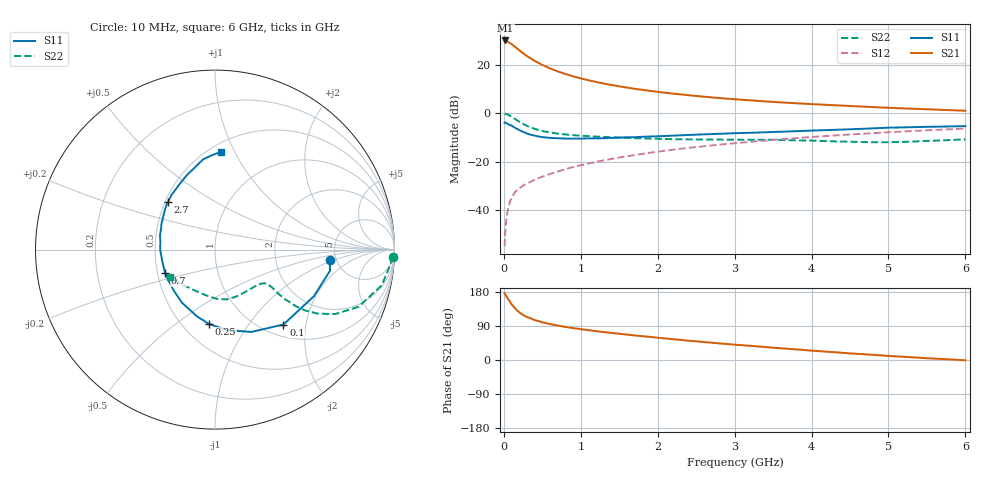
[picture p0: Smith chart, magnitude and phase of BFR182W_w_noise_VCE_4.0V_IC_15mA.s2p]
! (c) 2017  Infineon Technologies AG, Munich
! Infineon Technologies  Discrete & RF Semiconductors
! BFR182W
! VCE =  4.0 V,  IC =  15 mA
! Common Emitter S-Parameters:  Jan 2017
# GHz  S  MA  R  50
!  f  S11  S21  S12  S22
! GHz  MAG  ANG  MAG  ANG  MAG  ANG  MAG  ANG
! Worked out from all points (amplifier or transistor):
!   77 points, 10 MHz to 6 GHz, reference 50 ohm
!   highest |S21| = 30.2 dB at 20 MHz (marker M1)
!   |S21| within 3 dB of that: start of sweep to 160.1 MHz
!   unconditionally stable (mu >= 1): 925 MHz to 2.468 GHz
!   at 130 MHz: K = 0.36, MSG = 30.6 dB, |S12| = -33.4 dB
!   at 2.2 GHz: K = 1.02, MAG = 10.8 dB, |S12| = -15.0 dB
!   at 6 GHz: K = 0.87, MSG = 3.7 dB, |S12| = -6.3 dB
!   lowest NFmin = 1.25 dB at 450 MHz
!   S11 on the Smith chart (normalised r, x): 10 MHz: 4.40, -0.87; 100 MHz: 1.22, -1.50; 250 MHz: 0.67, -0.67; 700 MHz: 0.55, -0.16; 2.7 GHz: 0.52, +0.32; 6 GHz: 0.57, +0.89
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0.01  0.6416 -5.2  31.96 176.0  0.0018 91.1  0.9903 -2.3
0.02  0.6515 -10.4  32.25 172.6  0.0038 90.0  0.9795 -5.0
0.05  0.6093 -25.2  30.63 162.2  0.0099 77.5  0.9511 -12.0
0.1  0.5654 -47.6  27.25 147.1  0.0179 71.4  0.8611 -21.7
0.15  0.5014 -66.2  23.54 135.1  0.024 67.1  0.7601 -28.2
0.2  0.4527 -81.7  20.23 125.9  0.0281 64.3  0.6754 -31.9
0.25  0.4158 -94.6  17.56 118.8  0.0324 61.9  0.6071 -34.0
0.3  0.3845 -105.4  15.33 113.5  0.0353 62.0  0.5519 -35.0
0.4  0.3482 -122.0  12.2 105.3  0.0425 62.8  0.4799 -35.3
0.5  0.3239 -135.1  10.05 99.5  0.0492 64.2  0.4334 -34.9
0.6  0.3115 -145.6  8.544 94.8  0.056 64.7  0.4033 -34.2
0.7  0.307 -154.5  7.404 90.9  0.0627 66.3  0.3822 -33.6
0.9  0.3007 -168.0  5.847 84.2  0.0776 67.5  0.3556 -33.4
1.1  0.3044 -178.9  4.852 78.8  0.0923 68.3  0.3392 -33.9
1.3  0.3066 172.3  4.141 73.7  0.1072 68.0  0.3267 -35.2
1.5  0.3168 165.1  3.625 69.3  0.1227 67.8  0.3162 -37.3
2.1  0.3417 147.7  2.679 56.9  0.1696 65.4  0.296 -47.2
2.7  0.374 134.3  2.148 45.7  0.2175 61.7  0.2881 -60.0
3.1  0.3936 126.3  1.914 39.0  0.2499 58.7  0.2858 -68.5
4.1  0.447 109.6  1.53 23.3  0.3337 50.4  0.2706 -90.2
5.1  0.5109 96.2  1.288 9.6  0.4158 40.9  0.2557 -121.8
6  0.5461 86.2  1.136 -0.7  0.4861 31.9  0.2921 -148.9
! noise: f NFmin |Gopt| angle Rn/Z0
0.45  1.25  0.04  146  0.15
0.9  1.33  0.05  146  0.15
1.9  1.82  0.24  -148  0.15
2.4  2.07  0.24  -133  0.22
